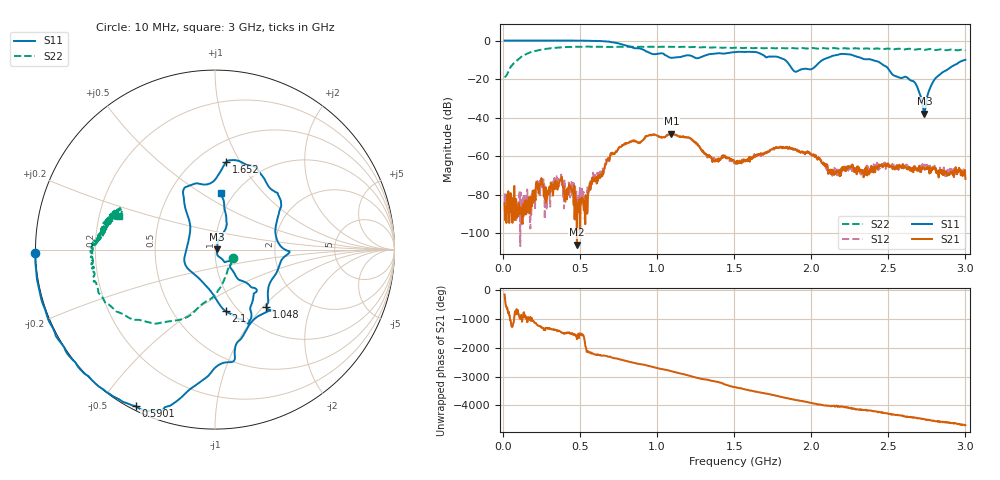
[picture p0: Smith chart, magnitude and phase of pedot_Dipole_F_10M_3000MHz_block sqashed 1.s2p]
!  08/05/2026  14:52:49
! Ref Plane: 0.000 mm
# MHZ S MA R  50
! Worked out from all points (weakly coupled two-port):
!   1001 points, 10 MHz to 3 GHz, reference 50 ohm
!   highest |S21| = -48.42 dB at 1.092 GHz (marker M1); lowest = -106.0 dB at 479.4 MHz (marker M2)
!   lowest |S11| = -38.0 dB at 2.734 GHz (marker M3), VSWR 1.03, Z = 51.3 + j0.117 ohm
!   |S11| at or under -10 dB: 1.829 GHz to 2.075 GHz (246 MHz wide, 12.6 % of centre); 2.393 GHz to 2.999 GHz (606.1 MHz wide, 22.5 % of centre)
!   |S22| runs from -19.1 to -3.1 dB; largest |S21 - S12| = 0.0003
!   S11 on the Smith chart (normalised r, x): 10 MHz: -0.00, -0.01; 590.1 MHz: 0.01, -0.61; 1.048 GHz: 1.34, -1.04; 1.652 GHz: 0.68, +0.87; 2.1 GHz: 0.88, -0.69; 3 GHz: 0.87, +0.61
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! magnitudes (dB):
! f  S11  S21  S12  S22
! 10 MHz  0.0  -84.3  -86.2  -19.1
! 132.6 MHz  0.0  -84.8  -84.9  -7.7
! 362.8 MHz  0.0  -74.0  -73.1  -3.6
! 479.4 MHz  0.0  -106.0  -83.0  -3.2
! 509.3 MHz  0.0  -81.4  -79.3  -3.3
! 590.1 MHz  -0.2  -71.3  -71.8  -3.2
! 775.4 MHz  -2.1  -54.6  -54.2  -3.3
! 1.009 GHz  -6.8  -49.7  -49.8  -3.3
! 1.048 GHz  -7.4  -50.3  -50.1  -3.2
! 1.092 GHz  -8.9  -48.4  -48.4  -3.2
! 1.37 GHz  -6.8  -62.8  -61.0  -3.5
! 1.505 GHz  -5.9  -63.4  -63.9  -3.7
! 1.652 GHz  -6.2  -59.5  -59.3  -3.8
! 1.798 GHz  -8.9  -55.2  -55.6  -3.9
! 2.004 GHz  -14.7  -59.2  -59.8  -3.8
! 2.1 GHz  -9.1  -65.5  -67.2  -4.1
! 2.252 GHz  -7.2  -65.2  -67.9  -4.3
! 2.504 GHz  -15.1  -64.5  -65.6  -4.2
! 2.668 GHz  -21.5  -67.1  -65.4  -4.7
! 2.734 GHz  -38.0  -66.3  -65.7  -4.8
! 2.806 GHz  -19.6  -67.3  -66.8  -4.9
! 3 GHz  -10.0  -71.9  -67.4  -5.0
